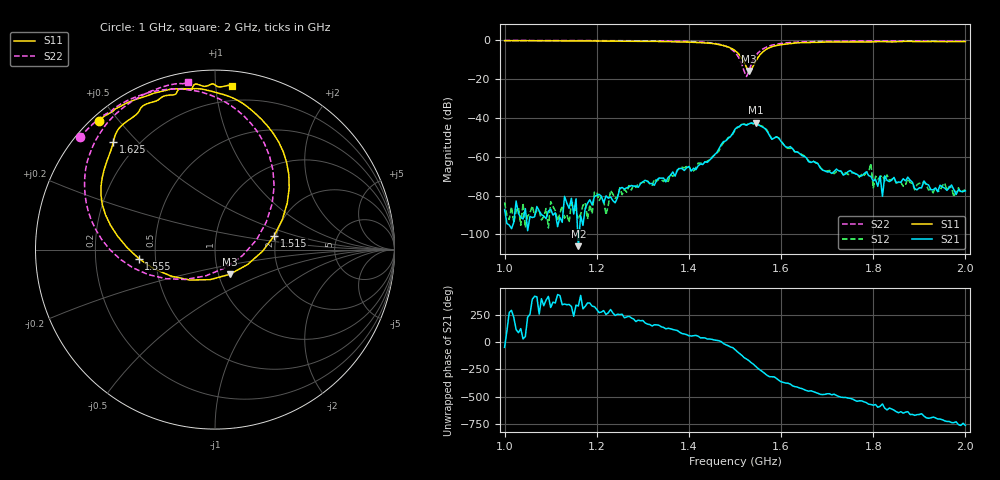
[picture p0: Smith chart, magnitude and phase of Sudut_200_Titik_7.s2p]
# Hz S RI R 50
! CMT, C1220, 16058040, 17.2.0/1
! Date: 14/08/2018 12:14:56
! Data: Format (Calibration Info)
! Freq  S11: Re/Im (F2)  S21: Re/Im (F2)  S12: Re/Im (F2)  S22: Re/Im (F2)
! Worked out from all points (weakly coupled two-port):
!   201 points, 1 GHz to 2 GHz, reference 50 ohm
!   highest |S21| = -42.55 dB at 1.545 GHz (marker M1); lowest = -106.1 dB at 1.16 GHz (marker M2)
!   lowest |S11| = -15.9 dB at 1.53 GHz (marker M3), VSWR 1.38, Z = 56.5 - j16 ohm
!   |S11| at or under -10 dB: 1.516 GHz to 1.547 GHz (30.82 MHz wide, 2.01 % of centre)
!   |S22| runs from -18.7 to -0.2 dB; largest |S21 - S12| = 0.00037
!   S11 on the Smith chart (normalised r, x): 1 GHz: 0.02, +0.44; 1.515 GHz: 1.94, +0.34; 1.555 GHz: 0.40, -0.05; 1.625 GHz: 0.11, +0.43; 2 GHz: 0.09, +1.11
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1e9  -0.6476 0.7143  3.04e-05 -3.17e-05  -5.09e-05 4.36e-05  -0.7536 0.6247
1.16e9  -0.491 0.817  4.46e-06 -2.21e-06  2.07e-05 -1.38e-05  -0.6273 0.7436
1.17e9  -0.4784 0.8225  1.06e-05 -1.34e-05  5.56e-05 9.73e-06  -0.6167 0.7505
1.245e9  -0.3648 0.862  -1.75e-05 -8.65e-05  -1.15e-06 -9.24e-05  -0.5428 0.7997
1.335e9  -0.2199 0.8958  -0.000259 0.000112  -0.000219 0.000146  -0.4004 0.8652
1.44e9  0.1304 0.8293  0.000617 0.000361  0.000685 0.00033  -0.0389 0.8659
1.5e9  0.4133 0.3427  0.00202 -0.00466  0.0019 -0.00439  0.3294 0.3524
1.515e9  0.3296 0.0769  -0.00346 -0.00586  -0.00335 -0.00606  0.2309 0.0537
1.53e9  0.0818 -0.138  -0.0068 -0.00144  -0.00689 -0.00145  -0.0519 -0.1465
1.545e9  -0.2456 -0.1473  -0.00558 0.00494  -0.00556 0.00477  -0.3727 -0.1391
1.555e9  -0.4243 -0.0502  -0.00148 0.00599  -0.00179 0.00605  -0.5294 -0.0528
1.625e9  -0.5663 0.5998  0.00121 -0.00107  0.0012 -0.000988  -0.7016 0.5216
1.67e9  -0.4475 0.7451  -5.14e-05 -0.000749  -3.4e-05 -0.000769  -0.6252 0.6723
1.77e9  -0.2479 0.861  -0.000315 -1.03e-05  -0.000298 1.69e-05  -0.4687 0.8224
1.795e9  -0.2122 0.8775  -0.00026 0.000165  -0.000612 0.000287  -0.4315 0.8446
1.8e9  -0.2084 0.8849  -0.000184 0.00015  -0.000145 4.59e-05  -0.4243 0.8491
1.81e9  -0.196 0.8955  -9.18e-05 0.000146  6.11e-06 0.000258  -0.4108 0.8573
1.815e9  -0.1874 0.8972  -0.000207 0.000241  -0.000246 0.00018  -0.4035 0.8605
1.82e9  -0.1771 0.8968  -8.45e-05 4.49e-05  -0.000209 0.000259  -0.3969 0.864
1.825e9  -0.1658 0.895  -0.00013 0.000294  4.21e-05 0.000232  -0.3902 0.8673
1.835e9  -0.1445 0.8895  -9.39e-05 0.000209  -0.000107 0.000217  -0.377 0.8739
2e9  0.0958 0.9136  9.32e-05 -9.4e-05  6.84e-05 -0.000123  -0.1525 0.9329
